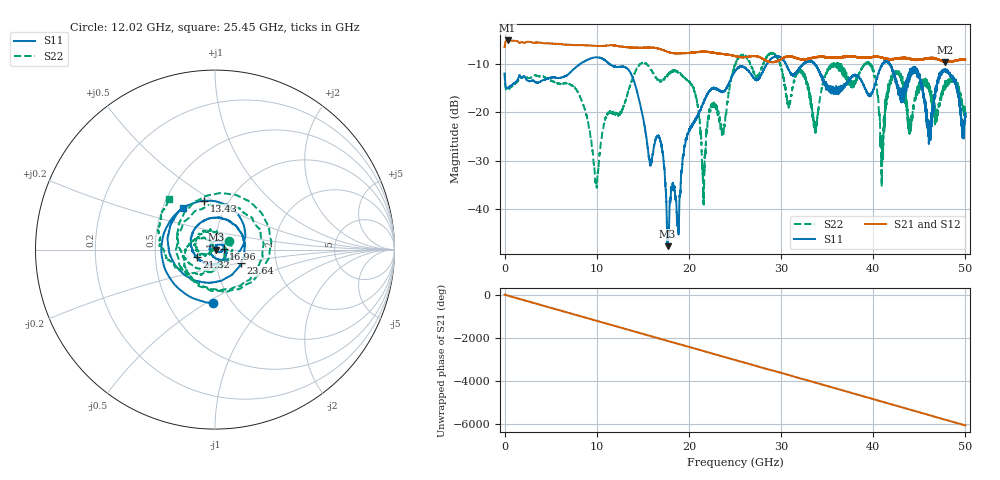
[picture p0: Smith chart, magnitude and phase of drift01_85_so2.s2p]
!Created with skrf (http://scikit-rf.org).
# Hz S RI R 50.0
!freq ReS11 ImS11 ReS21 ImS21 ReS12 ImS12 ReS22 ImS22
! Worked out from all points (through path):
!   10001 points, 300 kHz to 50 GHz, reference 50 ohm
!   highest |S21| = -5.05 dB at 325.3 MHz (marker M1); lowest = -9.6 dB at 47.84 GHz (marker M2)
!   group delay of S21, straight-line fit = 336 ps
!   lowest |S11| = -47.8 dB at 17.69 GHz (marker M3), VSWR 1.01, Z = 50.4 - j0.126 ohm
!   |S11| at or under -10 dB: start of sweep to 8.154 GHz; 11.43 GHz to 28.42 GHz (16.99 GHz wide, 85.3 % of centre); 41.83 GHz to end of sweep (the widest 3 of 12)
!   |S22| runs from -39.2 to -7.6 dB; largest |S21 - S12| = 0.014
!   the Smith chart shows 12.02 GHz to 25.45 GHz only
!   S11 on the Smith chart (normalised r, x): 12.02 GHz: 0.82, -0.54; 13.43 GHz: 0.77, +0.46; 16.96 GHz: 1.10, +0.01; 21.32 GHz: 0.81, -0.07; 23.64 GHz: 1.32, -0.20; 25.45 GHz: 0.64, +0.33
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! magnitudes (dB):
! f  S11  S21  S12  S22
! 300 kHz  -11.9  -6.5  -6.5  -11.8
! 325.3 MHz  -14.9  -5.1  -5.1  -15.3
! 8.335 GHz  -9.8  -6.0  -6.0  -17.5
! 9.95 GHz  -8.5  -6.2  -6.2  -35.0
! 12.02 GHz  -10.5  -6.1  -6.1  -20.4
! 13.43 GHz  -11.1  -6.5  -6.5  -15.6
! 15.76 GHz  -30.6  -6.5  -6.5  -10.7
! 16.67 GHz  -24.8  -6.7  -6.7  -13.3
! 16.96 GHz  -26.2  -6.9  -6.9  -13.4
! 17.69 GHz  -47.8  -7.4  -7.4  -12.3
! 20.43 GHz  -22.5  -7.6  -7.6  -14.8
! 21.32 GHz  -19.1  -7.4  -7.4  -25.5
! 23.64 GHz  -15.7  -7.9  -7.8  -23.8
! 25 GHz  -11.4  -8.3  -8.3  -10.1
! 25.45 GHz  -10.7  -8.4  -8.5  -8.5
! 33.34 GHz  -9.5  -8.7  -8.7  -19.6
! 39.49 GHz  -16.2  -8.6  -8.6  -9.9
! 40.97 GHz  -10.1  -8.6  -8.6  -28.9
! 41.67 GHz  -9.5  -8.8  -8.9  -14.0
! 46.12 GHz  -22.6  -8.7  -8.6  -14.5
! 47.84 GHz  -11.1  -9.6  -9.6  -14.9
! 50 GHz  -20.9  -9.1  -9.1  -20.4
